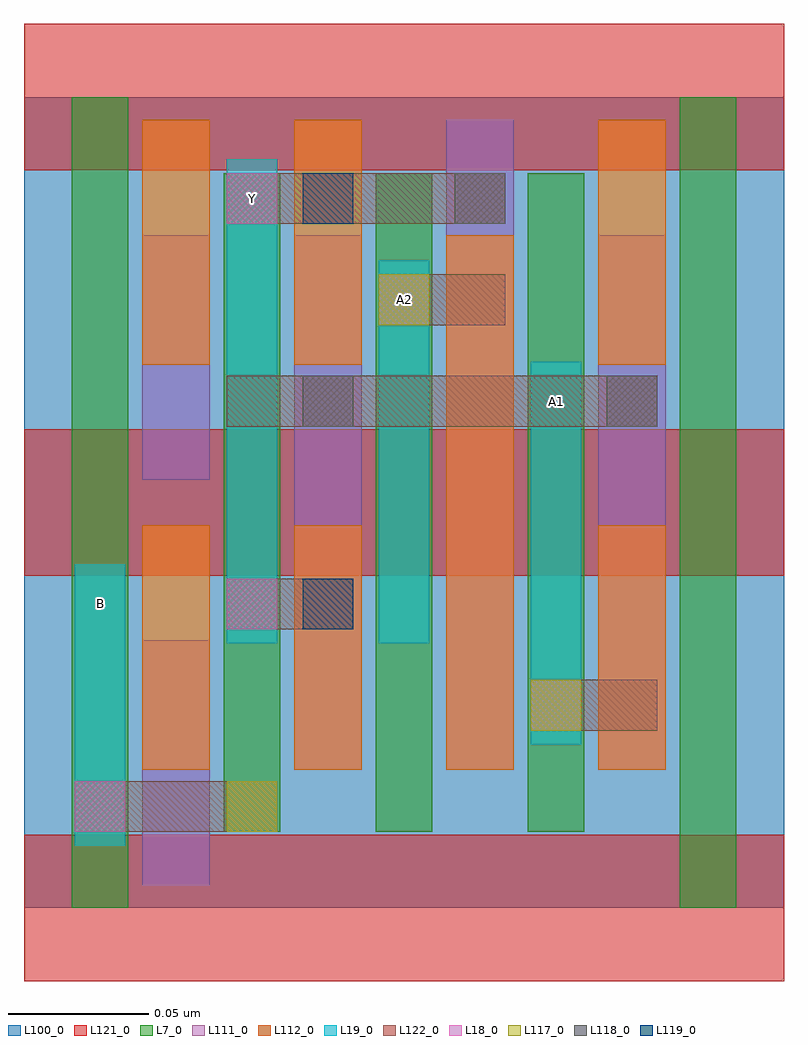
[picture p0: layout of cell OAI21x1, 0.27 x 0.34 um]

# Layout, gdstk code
import gdstk
lib = gdstk.Library(unit=1e-6, precision=2.5e-10)
def R(c, l, rs):  # rectangles x0, y0, x1, y1
    for r in rs: c.add(gdstk.rectangle(r[:2], r[2:], *l))
def A(c, l, x, y, w, h, nx, ny, dx, dy):  # array of equal rectangles
    R(c, l, [(x+i*dx, y+j*dy, x+i*dx+w, y+j*dy+h) for i in range(nx) for j in range(ny)])
L7_0 = (7, 0)
L18_0 = (18, 0)
L19_0 = (19, 0)
L100_0 = (100, 0)
L111_0 = (111, 0)
L112_0 = (112, 0)
L117_0 = (117, 0)
L118_0 = (118, 0)
L119_0 = (119, 0)
L121_0 = (121, 0)
L122_0 = (122, 0)

oai21x1 = lib.new_cell('OAI21x1')
A(oai21x1, L7_0, 0.071, 0.027, 0.02, 0.117, 3, 2, 0.054, 0.117)
R(oai21x1, L7_0, [(0.017,0,0.037,0.144), (0.233,0,0.253,0.144), (0.017,0.144,0.037,0.288), (0.233,0.144,0.253,0.288)])
R(oai21x1, L18_0, [(0.018,0.027,0.036,0.045), (0.18,0.063,0.198,0.081), (0.072,0.099,0.09,0.117), (0.126,0.207,0.144,0.225), (0.072,0.243,0.09,0.261)])
R(oai21x1, L19_0, [(0.018,0.022,0.036,0.122), (0.18,0.058,0.198,0.194), (0.072,0.094,0.09,0.266), (0.126,0.094,0.144,0.23)])
R(oai21x1, L100_0, [(0,0,0.27,0.288)])
A(oai21x1, L111_0, 0.096, 0.049, 0.024, 0.095, 3, 1, 0.054, 0)
R(oai21x1, L111_0, [(0.042,0.008,0.066,0.095), (0.096,0.144,0.12,0.239), (0.15,0.144,0.174,0.28), (0.204,0.144,0.228,0.239), (0.042,0.152,0.066,0.239)])
R(oai21x1, L112_0, [(0.042,0.049,0.066,0.136), (0.096,0.049,0.12,0.136), (0.15,0.049,0.174,0.144), (0.204,0.049,0.228,0.136), (0.15,0.144,0.174,0.239), (0.042,0.193,0.066,0.28), (0.096,0.193,0.12,0.28), (0.204,0.193,0.228,0.28)])
R(oai21x1, L117_0, [(0.072,0.027,0.09,0.045), (0.18,0.063,0.198,0.081), (0.126,0.207,0.144,0.225)])
R(oai21x1, L118_0, [(0.099,0.171,0.117,0.189), (0.207,0.171,0.225,0.189), (0.153,0.243,0.171,0.261)])
R(oai21x1, L119_0, [(0.099,0.099,0.117,0.117), (0.099,0.243,0.117,0.261)])
A(oai21x1, L121_0, 0, -0.026, 0.27, 0.052, 1, 3, 0, 0.144)
R(oai21x1, L122_0, [(0.018,0.027,0.09,0.045), (0.18,0.063,0.225,0.081), (0.072,0.099,0.117,0.117), (0.072,0.171,0.225,0.189), (0.126,0.207,0.171,0.225), (0.072,0.243,0.171,0.261)])
oai21x1.add(gdstk.Label('Y', (0.081,0.252), layer=19, texttype=251))
oai21x1.add(gdstk.Label('B', (0.027,0.108), layer=19, texttype=251))
oai21x1.add(gdstk.Label('A2', (0.135,0.216), layer=19, texttype=251))
oai21x1.add(gdstk.Label('A1', (0.189,0.18), layer=19, texttype=251))

lib.write_gds('OAI21x1.gds')
